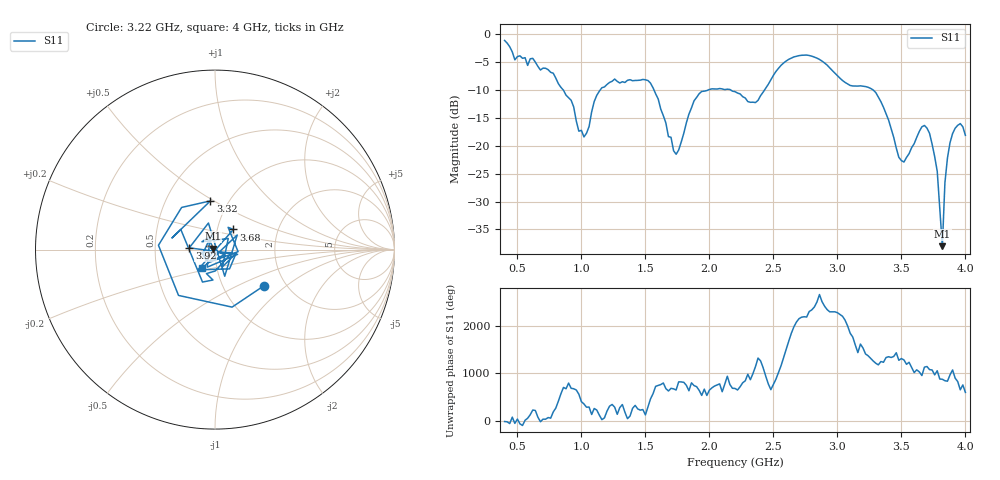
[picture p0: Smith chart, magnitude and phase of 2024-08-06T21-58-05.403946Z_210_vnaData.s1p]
!Created with skrf (http://scikit-rf.org).
# Hz S RI R 50.0
!freq ReS11 ImS11
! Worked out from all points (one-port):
!   181 points, 400 MHz to 4 GHz, reference 50 ohm
!   lowest |S11| = -38.0 dB at 3.82 GHz (marker M1), VSWR 1.03, Z = 48.9 + j0.572 ohm
!   |S11| at or under -10 dB: 858.4 MHz to 1.147 GHz (288.6 MHz wide, 28.8 % of centre); 1.567 GHz to 1.991 GHz (423.5 MHz wide, 23.8 % of centre); 3.28 GHz to end of sweep (the widest 3 of 4)
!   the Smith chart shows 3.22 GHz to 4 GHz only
!   S11 on the Smith chart (normalised r, x): 3.22 GHz: 1.56, -0.71; 3.32 GHz: 0.82, +0.48; 3.68 GHz: 1.19, +0.27; 3.92 GHz: 0.75, +0.01; 4 GHz: 0.85, -0.18
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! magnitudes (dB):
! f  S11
! 400 MHz  -1.1
! 480 MHz  -4.6
! 620 MHz  -4.3
! 860 MHz  -10.0
! 1.02 GHz  -18.4
! 1.14 GHz  -10.2
! 1.3 GHz  -8.7
! 1.54 GHz  -8.8
! 1.72 GHz  -20.9
! 1.76 GHz  -20.8
! 1.92 GHz  -10.7
! 2.2 GHz  -10.3
! 2.36 GHz  -12.3
! 2.66 GHz  -4.1
! 2.86 GHz  -4.5
! 3.1 GHz  -9.2
! 3.22 GHz  -9.4
! 3.32 GHz  -11.3
! 3.48 GHz  -22.1
! 3.56 GHz  -21.4
! 3.68 GHz  -16.4
! 3.72 GHz  -17.8
! 3.78 GHz  -24.6
! 3.82 GHz  -38.0
! 3.84 GHz  -26.6
! 3.86 GHz  -22.2
! 3.92 GHz  -16.9
! 4 GHz  -18.1
